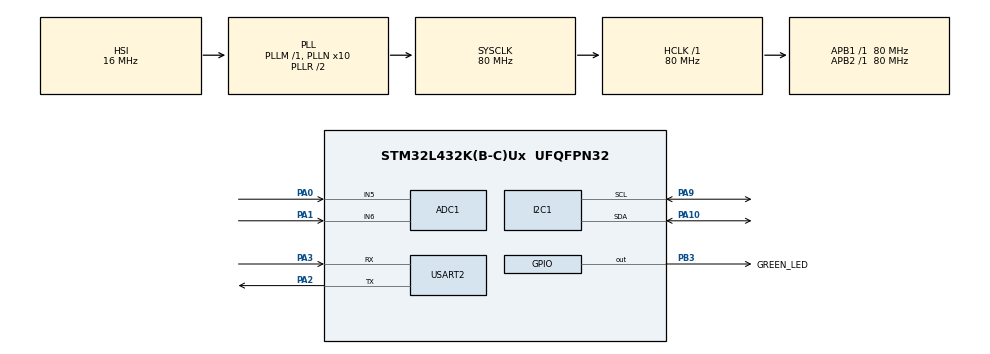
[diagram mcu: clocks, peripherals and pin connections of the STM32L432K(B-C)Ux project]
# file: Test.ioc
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Mcu.Family=STM32L4
RCC.CortexFreq_Value=80000000
PC15-OSC32_OUT\ (PC15).Mode=LSE-External-Oscillator
RCC.SYSCLKSource=RCC_SYSCLKSOURCE_PLLCLK
ProjectManager.StackSize=0x400
PB3\ (JTDO-TRACESWO).Signal=GPIO_Output
PC14-OSC32_IN\ (PC14).Mode=LSE-External-Oscillator
PA14\ (JTCK-SWCLK).Signal=SYS_JTCK-SWCLK
RCC.HCLKFreq_Value=80000000
RCC.APB2TimFreq_Value=80000000
Dma.ADC1.0.Direction=DMA_PERIPH_TO_MEMORY
Dma.ADC1.0.MemDataAlignment=DMA_MDATAALIGN_HALFWORD
RCC.AHBFreq_Value=80000000
ADC1.Channel-0\#ChannelRegularConversion=ADC_CHANNEL_5
RCC.HSE_VALUE=8000000
USART2.VirtualMode-Asynchronous=VM_ASYNC
Dma.ADC1.0.PeriphInc=DMA_PINC_DISABLE
ADC1.SamplingTime-0\#ChannelRegularConversion=ADC_SAMPLETIME_12CYCLES_5
PA0.Signal=ADCx_IN5
Mcu.Package=UFQFPN32
TIM2.Prescaler=8000-1
PA10.Signal=I2C1_SDA
ADC1.OffsetNumber-1\#ChannelRegularConversion=ADC_OFFSET_NONE
TIM2.TIM_MasterOutputTrigger=TIM_TRGO_UPDATE
RCC.APB1TimFreq_Value=80000000
PA13\ (JTMS-SWDIO).Signal=SYS_JTMS-SWDIO
Dma.Request0=ADC1
RCC.HSI48_VALUE=48000000
PA3.Signal=USART2_RX
RCC.MSI_VALUE=4000000
RCC.PLLSourceVirtual=RCC_PLLSOURCE_HSI
PA14\ (JTCK-SWCLK).Mode=Serial_Wire
Dma.ADC1.0.Instance=DMA1_Channel1
ADC1.Rank-0\#ChannelRegularConversion=1
PA10.Mode=I2C
SH.ADCx_IN6.0=ADC1_IN6,IN6-Single-Ended
ADC1.OffsetNumber-0\#ChannelRegularConversion=ADC_OFFSET_NONE
PC15-OSC32_OUT\ (PC15).Signal=RCC_OSC32_OUT
PA14\ (JTCK-SWCLK).GPIO_Label=SWCLK
PB3\ (JTDO-TRACESWO).GPIO_Label=GREEN_LED
PA3.Mode=Asynchronous
Dma.ADC1.0.PeriphDataAlignment=DMA_PDATAALIGN_HALFWORD
PA9.Mode=I2C
ProjectManager.TargetToolchain=STM32CubeIDE
Dma.ADC1.0.Mode=DMA_NORMAL
Dma.ADC1.0.Priority=DMA_PRIORITY_LOW
PA9.Signal=I2C1_SCL
ADC1.Channel-1\#ChannelRegularConversion=ADC_CHANNEL_6
I2C1.Timing=0x10909CEC
RCC.USBFreq_Value=64000000
PA1.Signal=ADCx_IN6
board=NUCLEO-L432KC
RCC.VCOOutputFreq_Value=160000000
RCC.APB2Freq_Value=80000000
PA13\ (JTMS-SWDIO).GPIO_Label=SWDIO
VP_TIM2_VS_ClockSourceINT.Mode=Internal
RCC.ADCFreq_Value=64000000
TIM2.Period=1000-1
ADC1.NbrOfConversion=2
Mcu.Name=STM32L432K(B-C)Ux
PA2.Signal=USART2_TX
ADC1.ExternalTrigConv=ADC_EXTERNALTRIG_T2_TRGO
PA13\ (JTMS-SWDIO).Mode=Serial_Wire
ADC1.SamplingTime-1\#ChannelRegularConversion=ADC_SAMPLETIME_12CYCLES_5
RCC.SYSCLKFreq_VALUE=80000000
ADC1.master=1
PC14-OSC32_IN\ (PC14).Signal=RCC_OSC32_IN
ADC1.Rank-1\#ChannelRegularConversion=2
Dma.ADC1.0.MemInc=DMA_MINC_ENABLE
ProjectManager.HeapSize=0x200
RCC.HSI_VALUE=16000000
SH.ADCx_IN5.0=ADC1_IN5,IN5-Single-Ended
NVIC.PriorityGroup=NVIC_PRIORITYGROUP_4
ADC1.NbrOfConversionFlag=1
RCC.PLLN=10
PA2.Mode=Asynchronous
TIM2.AutoReloadPreload=TIM_AUTORELOAD_PRELOAD_ENABLE
NVIC.DMA1_Channel1_IRQn=true\:0\:0\:false\:false\:true\:false\:true
RCC.APB1Freq_Value=80000000

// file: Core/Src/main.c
/* USER CODE BEGIN Header */
/**
 ******************************************************************************
 * @file           : main.c
 * @brief          : Main program body
 ******************************************************************************
 * @attention
 *
 * <h2><center>&copy; Copyright (c) 2021 STMicroelectronics.
 * All rights reserved.</center></h2>
 *
 * This software component is licensed by ST under BSD 3-Clause license,
 * the "License"; You may not use this file except in compliance with the
 * License. You may obtain a copy of the License at:
 *                        opensource.org/licenses/BSD-3-Clause
 *
 ******************************************************************************
 */
/* USER CODE END Header */
#include "main.h"

/* USER CODE BEGIN Includes */
#include <stdio.h>
#include <stdint.h>
#include "ssd1306.h"

/* USER CODE END Includes */

ADC_HandleTypeDef hadc1;
DMA_HandleTypeDef hdma_adc1;

I2C_HandleTypeDef hi2c1;

TIM_HandleTypeDef htim2;

UART_HandleTypeDef huart2;

/* USER CODE BEGIN PV */
// Pas utilisés

/*uint8_t TxData[8];
uint8_t RxData[8];
uint32_t TxMailbox;*/

/* USER CODE END PV */

void SystemClock_Config(void);
static void MX_GPIO_Init(void);
static void MX_DMA_Init(void);
static void MX_USART2_UART_Init(void);
static void MX_I2C1_Init(void);
static void MX_ADC1_Init(void);
static void MX_TIM2_Init(void);

int main(void)
{
  /* USER CODE BEGIN 1 */
  //char *buffer;

  float volt;
  float amp;
  float power;
  float resistance=0.01; //resistance de mesure de courant en ohm
  char msg[10];
  uint16_t tab[2];
  /* USER CODE END 1 */

  /* MCU Configuration--------------------------------------------------------*/

  /* Reset of all peripherals, Initializes the Flash interface and the Systick. */
  HAL_Init();

  /* Configure the system clock */
  SystemClock_Config();

  /* Initialize all configured peripherals */
  MX_GPIO_Init();
  MX_DMA_Init();
  MX_USART2_UART_Init();
  MX_I2C1_Init();
  MX_ADC1_Init();
  MX_TIM2_Init();
  /* USER CODE BEGIN 2 */
  //CAN_Config();
  HAL_Delay(2000);
  HAL_TIM_Base_Start(&htim2);
  /* Ecran */
  ssd1306_Init();
  ssd1306_Fill(Black); // White pour mettre un fond blanc
  ssd1306_UpdateScreen();
  /* USER CODE END 2 */

  /* Infinite loop */
  /* USER CODE BEGIN WHILE */
  while (1)
  {
    HAL_GPIO_TogglePin(GPIOA, GPIO_PIN_5);
    HAL_Delay(1000);
    // Traitement des données
    // Test: Set GPIO pin high
    HAL_GPIO_WritePin(GPIOA, GPIO_PIN_10, GPIO_PIN_SET);

    // CAN

    HAL_ADC_Start_DMA(&hadc1, tab, 2);
    volt=tab[0]*(3.3/4095);             //resolution du CAN : 12bits
    amp=(tab[1]*(3.3/4095))/resistance;
    power=volt*amp;

    // Test: Set GPIO pin low
    HAL_GPIO_WritePin(GPIOA, GPIO_PIN_10, GPIO_PIN_RESET);

    //HAL_Delay(1);
    // Affichage des données
    sprintf(msg, "V:");
    ssd1306_SetCursor(0,0);                       	// 1ère ligne de l'écran
    ssd1306_WriteString(msg, Font_7x10, White); 	// Choisir la taille et la couleur de la police
    ssd1306_UpdateScreen();
    sprintf(msg,"%0.3f",volt);
    ssd1306_SetCursor(30,0);
    ssd1306_WriteString(msg, Font_7x10, White);
    ssd1306_UpdateScreen();
    sprintf(msg, "A:");
    ssd1306_SetCursor(0,12);                       	// 2ème ligne de l'écran
    ssd1306_WriteString(msg, Font_7x10, White); 	// Choisir la taille et la couleur de la police
    ssd1306_UpdateScreen();
    sprintf(msg,"%0.3f",amp);
    ssd1306_SetCursor(30,12);
    ssd1306_WriteString(msg, Font_7x10, White);
    ssd1306_UpdateScreen();
    sprintf(msg, "P:");
    ssd1306_SetCursor(0,24);                       	// 3ème ligne de l'écran
    ssd1306_WriteString(msg, Font_7x10, White); 	// Choisir la taille et la couleur de la police
    ssd1306_UpdateScreen();
    sprintf(msg,"%0.3f",power);
    ssd1306_SetCursor(30,24);
    ssd1306_WriteString(msg, Font_7x10, White);
    ssd1306_UpdateScreen();

    /* USER CODE END WHILE */

  }
}

void SystemClock_Config(void)
{
  RCC_OscInitTypeDef RCC_OscInitStruct = {0};
  RCC_ClkInitTypeDef RCC_ClkInitStruct = {0};
  RCC_PeriphCLKInitTypeDef PeriphClkInit = {0};

  /** Initializes the RCC Oscillators according to the specified parameters
  * in the RCC_OscInitTypeDef structure.
  */
  RCC_OscInitStruct.OscillatorType = RCC_OSCILLATORTYPE_HSI;
  RCC_OscInitStruct.HSIState = RCC_HSI_ON;
  RCC_OscInitStruct.HSICalibrationValue = RCC_HSICALIBRATION_DEFAULT;
  RCC_OscInitStruct.PLL.PLLState = RCC_PLL_ON;
  RCC_OscInitStruct.PLL.PLLSource = RCC_PLLSOURCE_HSI;
  RCC_OscInitStruct.PLL.PLLM = 1;
  RCC_OscInitStruct.PLL.PLLN = 10;
  RCC_OscInitStruct.PLL.PLLP = RCC_PLLP_DIV7;
  RCC_OscInitStruct.PLL.PLLQ = RCC_PLLQ_DIV2;
  RCC_OscInitStruct.PLL.PLLR = RCC_PLLR_DIV2;
  if (HAL_RCC_OscConfig(&RCC_OscInitStruct) != HAL_OK)
  {
    Error_Handler();
  }
  /** Initializes the CPU, AHB and APB buses clocks
  */
  RCC_ClkInitStruct.ClockType = RCC_CLOCKTYPE_HCLK|RCC_CLOCKTYPE_SYSCLK
                              |RCC_CLOCKTYPE_PCLK1|RCC_CLOCKTYPE_PCLK2;
  RCC_ClkInitStruct.SYSCLKSource = RCC_SYSCLKSOURCE_PLLCLK;
  RCC_ClkInitStruct.AHBCLKDivider = RCC_SYSCLK_DIV1;
  RCC_ClkInitStruct.APB1CLKDivider = RCC_HCLK_DIV1;
  RCC_ClkInitStruct.APB2CLKDivider = RCC_HCLK_DIV1;

  if (HAL_RCC_ClockConfig(&RCC_ClkInitStruct, FLASH_LATENCY_4) != HAL_OK)
  {
    Error_Handler();
  }
  PeriphClkInit.PeriphClockSelection = RCC_PERIPHCLK_USART2|RCC_PERIPHCLK_I2C1
                              |RCC_PERIPHCLK_ADC;
  PeriphClkInit.Usart2ClockSelection = RCC_USART2CLKSOURCE_PCLK1;
  PeriphClkInit.I2c1ClockSelection = RCC_I2C1CLKSOURCE_PCLK1;
  PeriphClkInit.AdcClockSelection = RCC_ADCCLKSOURCE_PLLSAI1;
  PeriphClkInit.PLLSAI1.PLLSAI1Source = RCC_PLLSOURCE_HSI;
  PeriphClkInit.PLLSAI1.PLLSAI1M = 1;
  PeriphClkInit.PLLSAI1.PLLSAI1N = 8;
  PeriphClkInit.PLLSAI1.PLLSAI1P = RCC_PLLP_DIV7;
  PeriphClkInit.PLLSAI1.PLLSAI1Q = RCC_PLLQ_DIV2;
  PeriphClkInit.PLLSAI1.PLLSAI1R = RCC_PLLR_DIV2;
  PeriphClkInit.PLLSAI1.PLLSAI1ClockOut = RCC_PLLSAI1_ADC1CLK;
  if (HAL_RCCEx_PeriphCLKConfig(&PeriphClkInit) != HAL_OK)
  {
    Error_Handler();
  }
  /** Configure the main internal regulator output voltage
  */
  if (HAL_PWREx_ControlVoltageScaling(PWR_REGULATOR_VOLTAGE_SCALE1) != HAL_OK)
  {
    Error_Handler();
  }
}

static void MX_ADC1_Init(void)
{

  ADC_ChannelConfTypeDef sConfig = {0};

  /** Common config
  */
  hadc1.Instance = ADC1;
  hadc1.Init.ClockPrescaler = ADC_CLOCK_ASYNC_DIV1;
  hadc1.Init.Resolution = ADC_RESOLUTION_12B;
  hadc1.Init.DataAlign = ADC_DATAALIGN_RIGHT;
  hadc1.Init.ScanConvMode = ADC_SCAN_ENABLE;
  hadc1.Init.EOCSelection = ADC_EOC_SINGLE_CONV;
  hadc1.Init.LowPowerAutoWait = DISABLE;
  hadc1.Init.ContinuousConvMode = DISABLE;
  hadc1.Init.NbrOfConversion = 2;
  hadc1.Init.DiscontinuousConvMode = DISABLE;
  hadc1.Init.ExternalTrigConv = ADC_EXTERNALTRIG_T2_TRGO;
  hadc1.Init.ExternalTrigConvEdge = ADC_EXTERNALTRIGCONVEDGE_RISING;
  hadc1.Init.DMAContinuousRequests = DISABLE;
  hadc1.Init.Overrun = ADC_OVR_DATA_PRESERVED;
  hadc1.Init.OversamplingMode = DISABLE;
  if (HAL_ADC_Init(&hadc1) != HAL_OK)
  {
    Error_Handler();
  }
  /** Configure Regular Channel
  */
  sConfig.Channel = ADC_CHANNEL_5;
  sConfig.Rank = ADC_REGULAR_RANK_1;
  sConfig.SamplingTime = ADC_SAMPLETIME_12CYCLES_5;
  sConfig.SingleDiff = ADC_SINGLE_ENDED;
  sConfig.OffsetNumber = ADC_OFFSET_NONE;
  sConfig.Offset = 0;
  if (HAL_ADC_ConfigChannel(&hadc1, &sConfig) != HAL_OK)
  {
    Error_Handler();
  }
  /** Configure Regular Channel
  */
  sConfig.Channel = ADC_CHANNEL_6;
  sConfig.Rank = ADC_REGULAR_RANK_2;
  if (HAL_ADC_ConfigChannel(&hadc1, &sConfig) != HAL_OK)
  {
    Error_Handler();
  }

}

static void MX_I2C1_Init(void)
{

  hi2c1.Instance = I2C1;
  hi2c1.Init.Timing = 0x10909CEC;
  hi2c1.Init.OwnAddress1 = 0;
  hi2c1.Init.AddressingMode = I2C_ADDRESSINGMODE_7BIT;
  hi2c1.Init.DualAddressMode = I2C_DUALADDRESS_DISABLE;
  hi2c1.Init.OwnAddress2 = 0;
  hi2c1.Init.OwnAddress2Masks = I2C_OA2_NOMASK;
  hi2c1.Init.GeneralCallMode = I2C_GENERALCALL_DISABLE;
  hi2c1.Init.NoStretchMode = I2C_NOSTRETCH_DISABLE;
  if (HAL_I2C_Init(&hi2c1) != HAL_OK)
  {
    Error_Handler();
  }
  /** Configure Analogue filter
  */
  if (HAL_I2CEx_ConfigAnalogFilter(&hi2c1, I2C_ANALOGFILTER_ENABLE) != HAL_OK)
  {
    Error_Handler();
  }
  /** Configure Digital filter
  */
  if (HAL_I2CEx_ConfigDigitalFilter(&hi2c1, 0) != HAL_OK)
  {
    Error_Handler();
  }

}

static void MX_TIM2_Init(void)
{

  TIM_ClockConfigTypeDef sClockSourceConfig = {0};
  TIM_MasterConfigTypeDef sMasterConfig = {0};

  htim2.Instance = TIM2;
  htim2.Init.Prescaler = 8000-1;
  htim2.Init.CounterMode = TIM_COUNTERMODE_UP;
  htim2.Init.Period = 1000-1;
  htim2.Init.ClockDivision = TIM_CLOCKDIVISION_DIV1;
  htim2.Init.AutoReloadPreload = TIM_AUTORELOAD_PRELOAD_ENABLE;
  if (HAL_TIM_Base_Init(&htim2) != HAL_OK)
  {
    Error_Handler();
  }
  sClockSourceConfig.ClockSource = TIM_CLOCKSOURCE_INTERNAL;
  if (HAL_TIM_ConfigClockSource(&htim2, &sClockSourceConfig) != HAL_OK)
  {
    Error_Handler();
  }
  sMasterConfig.MasterOutputTrigger = TIM_TRGO_UPDATE;
  sMasterConfig.MasterSlaveMode = TIM_MASTERSLAVEMODE_DISABLE;
  if (HAL_TIMEx_MasterConfigSynchronization(&htim2, &sMasterConfig) != HAL_OK)
  {
    Error_Handler();
  }

}

static void MX_USART2_UART_Init(void)
{

  huart2.Instance = USART2;
  huart2.Init.BaudRate = 115200;
  huart2.Init.WordLength = UART_WORDLENGTH_8B;
  huart2.Init.StopBits = UART_STOPBITS_1;
  huart2.Init.Parity = UART_PARITY_NONE;
  huart2.Init.Mode = UART_MODE_TX_RX;
  huart2.Init.HwFlowCtl = UART_HWCONTROL_NONE;
  huart2.Init.OverSampling = UART_OVERSAMPLING_16;
  huart2.Init.OneBitSampling = UART_ONE_BIT_SAMPLE_DISABLE;
  huart2.AdvancedInit.AdvFeatureInit = UART_ADVFEATURE_NO_INIT;
  if (HAL_UART_Init(&huart2) != HAL_OK)
  {
    Error_Handler();
  }

}

static void MX_DMA_Init(void)
{

  /* DMA controller clock enable */
  __HAL_RCC_DMA1_CLK_ENABLE();

  /* DMA interrupt init */
  /* DMA1_Channel1_IRQn interrupt configuration */
  HAL_NVIC_SetPriority(DMA1_Channel1_IRQn, 0, 0);
  HAL_NVIC_EnableIRQ(DMA1_Channel1_IRQn);

}

static void MX_GPIO_Init(void)
{
  GPIO_InitTypeDef GPIO_InitStruct = {0};

  /* GPIO Ports Clock Enable */
  __HAL_RCC_GPIOC_CLK_ENABLE();
  __HAL_RCC_GPIOA_CLK_ENABLE();
  __HAL_RCC_GPIOB_CLK_ENABLE();

  /*Configure GPIO pin Output Level */
  HAL_GPIO_WritePin(GREEN_LED_GPIO_Port, GREEN_LED_Pin, GPIO_PIN_RESET);

  /*Configure GPIO pin : GREEN_LED_Pin */
  GPIO_InitStruct.Pin = GREEN_LED_Pin;
  GPIO_InitStruct.Mode = GPIO_MODE_OUTPUT_PP;
  GPIO_InitStruct.Pull = GPIO_NOPULL;
  GPIO_InitStruct.Speed = GPIO_SPEED_FREQ_LOW;
  HAL_GPIO_Init(GREEN_LED_GPIO_Port, &GPIO_InitStruct);

}

/* USER CODE BEGIN 4 */
/*static void CAN_Config(void)
{
  CAN_FilterTypeDef sFilterConfig;

  sFilterConfig.FilterBank = 0;
  sFilterConfig.FilterMode = CAN_FILTERMODE_IDMASK;
  sFilterConfig.FilterScale = CAN_FILTERSCALE_32BIT;
  sFilterConfig.FilterIdHigh = 0x320 << 5;
  sFilterConfig.FilterIdLow = 0;
  sFilterConfig.FilterMaskIdHigh = 0xFFF << 5;
  sFilterConfig.FilterMaskIdLow = 0;
  sFilterConfig.FilterFIFOAssignment = CAN_RX_FIFO0;
  sFilterConfig.FilterActivation = ENABLE;
  sFilterConfig.SlaveStartFilterBank = 14;

  HAL_CAN_ConfigFilter(&hcan1, &sFilterConfig);

  HAL_CAN_Start(&hcan1);

  //HAL_CAN_ActivateNotification(&hcan1, CAN_IT_RX_FIFO0_MSG_PENDING); //Useless en mode polling

  TxHeader.StdId = 0x320;
  TxHeader.ExtId = 0x01;
  TxHeader.RTR = CAN_RTR_DATA;
  TxHeader.IDE = CAN_ID_STD;
  TxHeader.DLC = 2;
  TxHeader.TransmitGlobalTime = DISABLE;
}

uint8_t CAN_Transmit(uint32_t addr, uint32_t data_size, uint8_t *tab_data)
{
  if (data_size > 8 || sizeof(tab_data) / sizeof(tab_data[0]) <= data_size)
    return 0;

  TxHeader.StdId = addr;
  TxHeader.DLC = data_size;

  for (int i = 0; i < data_size; i++)
  {
    TxData[i] = tab_data[i];
  }

  HAL_CAN_AddTxMessage(&hcan1, &TxHeader, TxData, &TxMailbox);

  return 1;
}*/

/* USER CODE END 4 */

void Error_Handler(void)
{
  /* USER CODE BEGIN Error_Handler_Debug */
  /* User can add his own implementation to report the HAL error return state */
  __disable_irq();
  while (1)
  {
    printf("Error");
  }
  /* USER CODE END Error_Handler_Debug */
}

/************************ (C) COPYRIGHT STMicroelectronics *****END OF FILE****/
